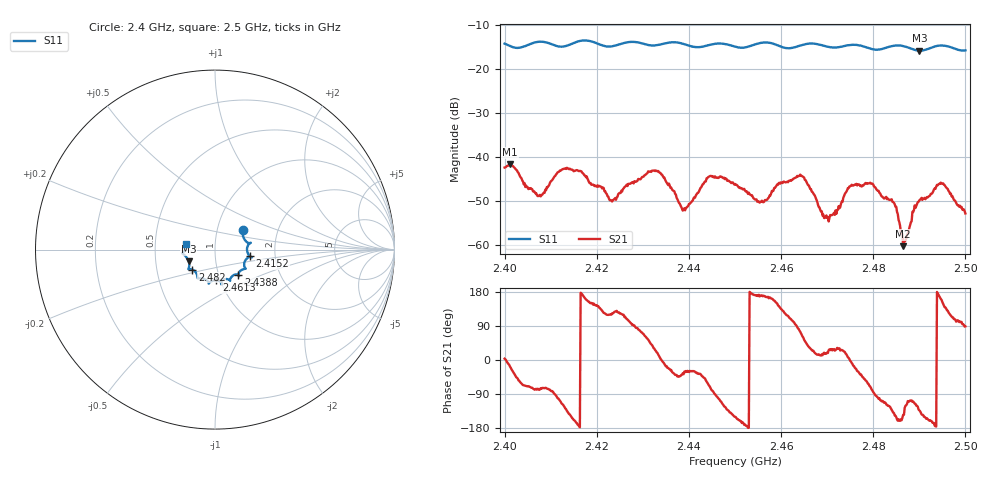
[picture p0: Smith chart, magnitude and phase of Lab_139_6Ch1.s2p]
# Hz S RI R 50
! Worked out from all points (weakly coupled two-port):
!   601 points, 2.4 GHz to 2.5 GHz, reference 50 ohm
!   highest |S21| = -41.66 dB at 2.4012 GHz (marker M1); lowest = -60.2 dB at 2.4865 GHz (marker M2)
!   lowest |S11| = -15.9 dB at 2.49 GHz (marker M3), VSWR 1.38, Z = 36.9 - j4.87 ohm
!   |S11| at or under -10 dB: start of sweep to end of sweep
!   S12 and S22 are empty: the file has one direction only
!   S11 on the Smith chart (normalised r, x): 2.4 GHz: 1.33, +0.31; 2.4152 GHz: 1.48, -0.11; 2.4388 GHz: 1.24, -0.36; 2.4613 GHz: 0.96, -0.34; 2.482 GHz: 0.76, -0.17; 2.5 GHz: 0.72, +0.05
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2.4e9  0.1572 0.1116  0.0076 0.000459  0 0  0 0
2.401167e9  0.1546 0.0939  0.00789 -0.00246  0 0  0 0
2.4075e9  0.199 0.0374  0.000695 -0.00356  0 0  0 0
2.415167e9  0.194 -0.0372  -0.00655 -0.00245  0 0  0 0
2.416667e9  0.2037 -0.0434  -0.00689 0.000574  0 0  0 0
2.423333e9  0.1627 -0.0767  -0.00172 0.00263  0 0  0 0
2.433333e9  0.132 -0.1319  0.00675 0.00173  0 0  0 0
2.438833e9  0.1293 -0.1409  0.00205 -0.00157  0 0  0 0
2.444333e9  0.0841 -0.1658  0.00235 -0.00553  0 0  0 0
2.45e9  0.0688 -0.1646  -0.00431 -0.00249  0 0  0 0
2.455833e9  0.0361 -0.1943  -0.00317 0.00055  0 0  0 0
2.461333e9  0.00801 -0.171  -0.00243 0.00467  0 0  0 0
2.4645e9  -0.0307 -0.1834  0.00252 0.00559  0 0  0 0
2.466667e9  -0.0347 -0.1903  0.00365 0.00179  0 0  0 0
2.469833e9  -0.042 -0.1743  0.0021 0.000632  0 0  0 0
2.475333e9  -0.0943 -0.1612  0.00482 -0.000689  0 0  0 0
2.482e9  -0.1258 -0.1116  -0.00109 -0.00339  0 0  0 0
2.483333e9  -0.1397 -0.1088  -0.00171 -0.00285  0 0  0 0
2.4865e9  -0.1474 -0.1053  -0.000804 -0.000563  0 0  0 0
2.49e9  -0.147 -0.0642  -0.00219 -0.00237  0 0  0 0
2.495e9  -0.1827 -0.0198  -0.00446 0.00228  0 0  0 0
2.5e9  -0.1588 0.0325  4.86e-05 0.0023  0 0  0 0
